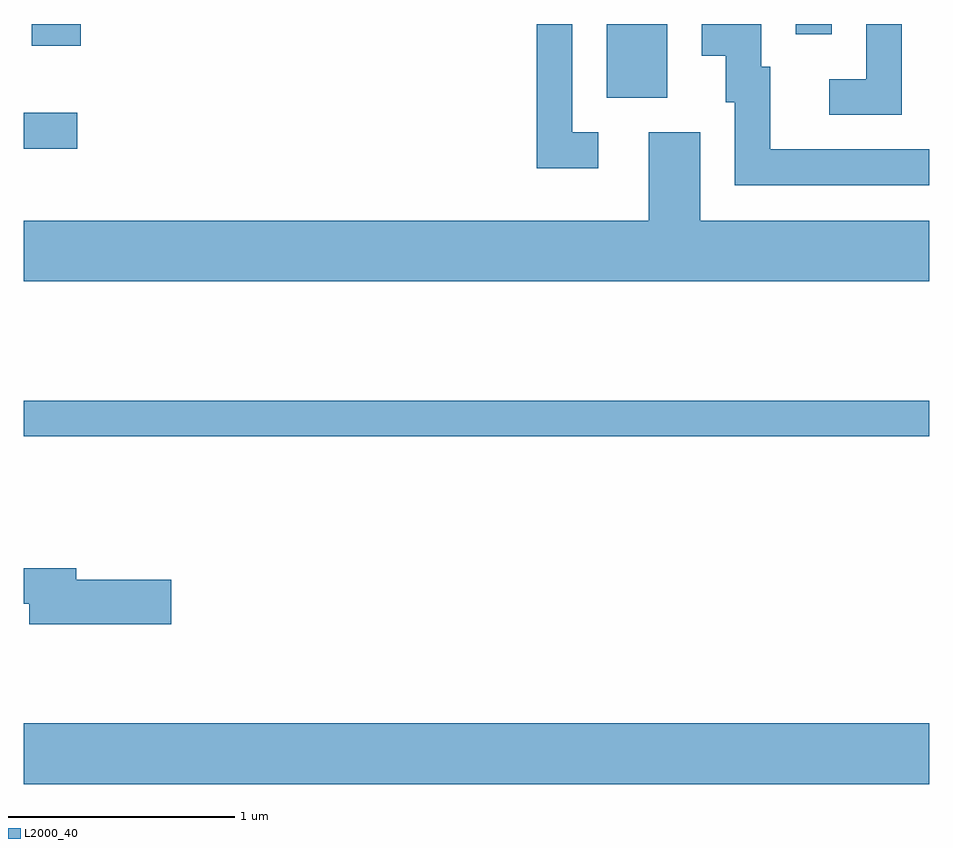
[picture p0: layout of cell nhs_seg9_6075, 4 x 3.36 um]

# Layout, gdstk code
import gdstk
lib = gdstk.Library(unit=1e-6, precision=1e-09)
def R(c, l, rs):  # rectangles x0, y0, x1, y1
    for r in rs: c.add(gdstk.rectangle(r[:2], r[2:], *l))
def P(c, l, *ps):  # polygons
    for p in ps: c.add(gdstk.Polygon(p, *l))
L2000_40 = (2000, 40)

nhs_seg9_6075 = lib.new_cell('nhs_seg9_6075')
R(nhs_seg9_6075, L2000_40, [(363.611,2065.076,367.611,2065.344), (363.611,2066.611,367.611,2066.769), (363.611,2067.881,363.848,2068.039), (366.186,2068.106,366.454,2068.432), (363.646,2068.336,363.864,2068.432), (367.021,2068.387,367.179,2068.432)])
P(nhs_seg9_6075, L2000_40, [(366.148,2067.954),(366.034,2067.954),(366.034,2068.432),(365.876,2068.432),(365.876,2067.796),(366.148,2067.796)],
  [(367.489,2068.432),(367.331,2068.432),(367.331,2068.189),(367.168,2068.189),(367.168,2068.031),(367.489,2068.031)],
  [(367.611,2067.879),(366.909,2067.879),(366.909,2068.244),(366.869,2068.244),(366.869,2068.432),(366.606,2068.432),(366.606,2068.291),(366.711,2068.291),(366.711,2068.086),(366.751,2068.086),(366.751,2067.721),(367.611,2067.721)],
  [(367.611,2067.564),(366.599,2067.564),(366.599,2067.954),(366.371,2067.954),(366.371,2067.564),(363.611,2067.564),(363.611,2067.296),(367.611,2067.296)],
  [(364.264,2065.979),(363.844,2065.979),(363.844,2066.029),(363.611,2066.029),(363.611,2065.871),(363.636,2065.871),(363.636,2065.781),(364.264,2065.781)])

lib.write_gds('nhs_seg9_6075.gds')
